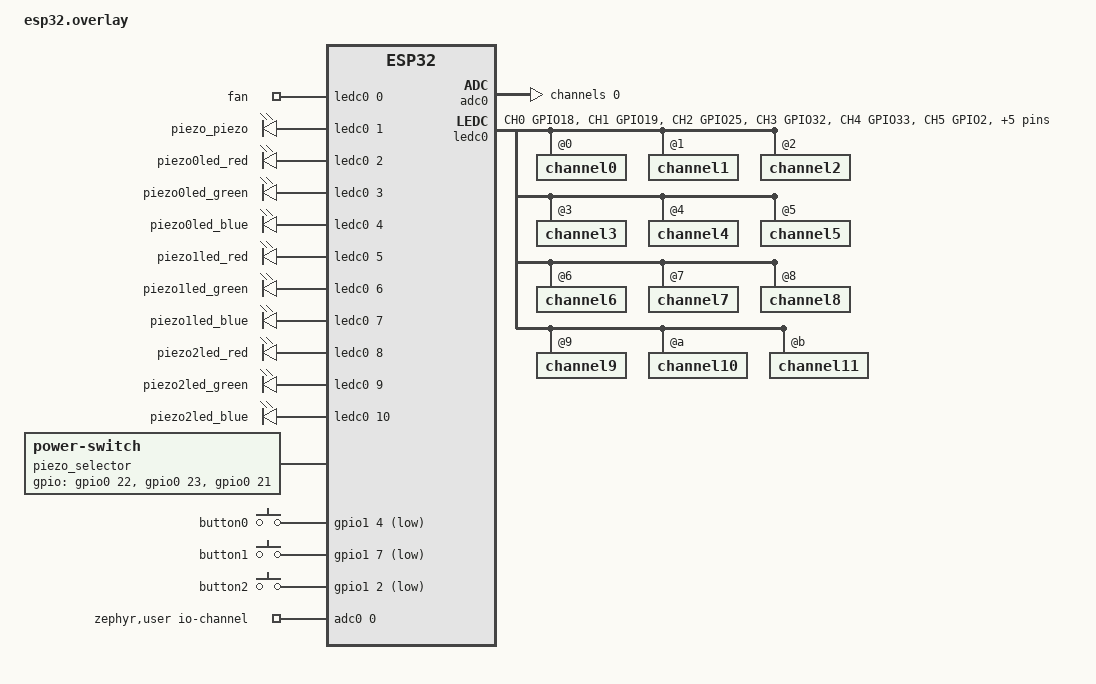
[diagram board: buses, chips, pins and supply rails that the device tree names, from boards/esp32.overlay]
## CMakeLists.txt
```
# SPDX-License-Identifier: Apache-2.0

cmake_minimum_required(VERSION 3.20.0)

find_package(Zephyr REQUIRED HINTS $ENV{ZEPHYR_BASE})
find_package(Python REQUIRED COMPONENTS Interpreter)

project(http_server)

if(CONFIG_NET_SOCKETS_SOCKOPT_TLS AND
  CONFIG_MBEDTLS_KEY_EXCHANGE_PSK_ENABLED AND
  (CONFIG_NET_SAMPLE_PSK_HEADER_FILE STREQUAL "dummy_psk.h")
)
  add_custom_target(development_psk
    COMMAND ${CMAKE_COMMAND} -E echo "----------------------------------------------------------"
    COMMAND ${CMAKE_COMMAND} -E echo "--- WARNING: Using dummy PSK! Only suitable for        ---"
    COMMAND ${CMAKE_COMMAND} -E echo "--- development. Set NET_SAMPLE_PSK_HEADER_FILE to use ---"
    COMMAND ${CMAKE_COMMAND} -E echo "--- own pre-shared key.                                ---"
    COMMAND ${CMAKE_COMMAND} -E echo "----------------------------------------------------------"
  )
  add_dependencies(app development_psk)
endif()

set(CERTS_DIR ${CMAKE_CURRENT_SOURCE_DIR}/src/certs)

add_custom_target(sample_ca_cert
  WORKING_DIRECTORY ${CERTS_DIR}
  COMMAND sh gen_ca_cert.sh
  COMMENT "Generating sample CA certificate"
)

add_custom_target(sample_server_cert
  WORKING_DIRECTORY ${CERTS_DIR}
  COMMAND sh gen_server_cert.sh
  COMMENT "Generating sample server certificate"
)

option(INCLUDE_HTML_CONTENT "Include the HTML content" ON)

target_include_directories(app PRIVATE inc)
FILE(GLOB app_sources src/*.c src/*.cpp)
target_sources(app PRIVATE ${app_sources})

set(gen_dir ${ZEPHYR_BINARY_DIR}/include/generated/)

target_sources_ifdef(CONFIG_NET_SAMPLE_WEBSOCKET_SERVICE app PRIVATE src/ws.c)

if(CONFIG_USB_DEVICE_STACK_NEXT)
  include(${ZEPHYR_BASE}/samples/subsys/usb/common/common.cmake)
endif()

target_link_libraries(app PRIVATE zephyr_interface zephyr)

zephyr_linker_sources(SECTIONS sections-rom.ld)
zephyr_linker_section_ifdef(CONFIG_NET_SAMPLE_HTTPS_SERVICE
  NAME http_resource_desc_test_https_service
  KVMA RAM_REGION GROUP RODATA_REGION
)
zephyr_linker_section_ifdef(CONFIG_NET_SAMPLE_HTTP_SERVICE
  NAME http_resource_desc_test_http_service
  KVMA RAM_REGION GROUP RODATA_REGION
)

foreach(web_resource
  index.html
  main.js
)
  generate_inc_file_for_target(app
    src/static_web_resources/${web_resource}
    ${gen_dir}/${web_resource}.gz.inc
    --gzip
  )
endforeach()

foreach(inc_file
  server_cert.der
  server_privkey.der
)
  generate_inc_file_for_target(app
    src/certs/${inc_file}
    ${gen_dir}/${inc_file}.inc
  )
endforeach()
```

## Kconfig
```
# Config options for http2 server sample application

# Copyright (c) 2023, Emna Rekik
# SPDX-License-Identifier: Apache-2.0

mainmenu "HTTP2 server sample application"

config NET_SAMPLE_HTTP_SERVICE
	bool "Enable http service"
	default y

config NET_SAMPLE_HTTP_SERVER_SERVICE_PORT
	int "Port number for http service"
	default 80
	depends on NET_SAMPLE_HTTP_SERVICE

config NET_SAMPLE_HTTPS_SERVICE
	bool "Enable https service"
	depends on NET_SOCKETS_SOCKOPT_TLS || TLS_CREDENTIALS
	select PSA_CRYPTO

if NET_SAMPLE_HTTPS_SERVICE

config NET_SAMPLE_HTTPS_SERVER_SERVICE_PORT
	int "Port number for https service"
	default 443
	depends on NET_SAMPLE_HTTPS_SERVICE

config NET_SAMPLE_HTTPS_USE_ALPN
	bool "Allow HTTP2 connectivity with web browsers by using ALPN"
	select MBEDTLS_SSL_ALPN
	select HTTP_SERVER_TLS_USE_ALPN
	help
	  Web browsers only use HTTP/2 over HTTPS, and use ALPN to determine if a
	  server supports HTTP/2. If this option is enabled, web browsers can use
	  HTTP/2 to communicate with the server. However web browsers are stricter
	  with security when using HTTP/2, at a minimum you will need to add the CA
	  certificate used to sign the server certificate into your web browser's
	  trusted authorities. Otherwise the connection can fail with a security
	  error, without giving an option to ignore this and proceed anyway.

endif # NET_SAMPLE_HTTPS_SERVICE

config NET_SAMPLE_PSK_HEADER_FILE
	string "Header file containing PSK"
	default "dummy_psk.h"
	depends on MBEDTLS_KEY_EXCHANGE_PSK_ENABLED
	help
	  Name of a header file containing a
	  pre-shared key.

config NET_SAMPLE_WEBSOCKET_SERVICE
	bool "Enable websocket service"
	default y if HTTP_SERVER_WEBSOCKET

config NET_SAMPLE_NUM_WEBSOCKET_HANDLERS
	int "How many websocket connections to serve at the same time"
	depends on NET_SAMPLE_WEBSOCKET_SERVICE
	default 1
	help
	  Each websocket connection is served by a thread which needs
	  memory. Only increase the value here if really needed.

config NET_SAMPLE_WEBSOCKET_STATS_INTERVAL
	int "Interval in milliseconds to send network stats over websocket"
	depends on NET_SAMPLE_WEBSOCKET_SERVICE
	default 200
	help
	  This interval controls how often the net stats data shown on the web page
	  will be updated.

if USB_DEVICE_STACK_NEXT
# Source common USB sample options used to initialize new experimental USB
# device stack. The scope of these options is limited to USB samples in project
# tree, you cannot use them in your own application.
	source "samples/subsys/usb/common/Kconfig.sample_usbd"
endif

config NET_SAMPLE_SNTP_SERVER_ADDRESS
        string "SNTP server address"
        default "pool.ntp.org"

config NET_SAMPLE_SNTP_SERVER_PORT
        int "SNTP server port"
        default 123

config NET_SAMPLE_SNTP_SERVER_TIMEOUT_MS
        int "Duration to wait for response"
        default 2000

source "samples/net/common/Kconfig"
source "Kconfig.zephyr"
```

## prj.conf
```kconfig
# General config
CONFIG_MAIN_STACK_SIZE=4096
# CONFIG_NET_SOCKETS_SERVICE_STACK_SIZE=4096
CONFIG_ZVFS_EVENTFD_MAX=20
CONFIG_SYSTEM_WORKQUEUE_STACK_SIZE=2048
CONFIG_SHELL=y
CONFIG_LOG=y
CONFIG_ENTROPY_GENERATOR=y
CONFIG_TEST_RANDOM_GENERATOR=y
CONFIG_INIT_STACKS=y
CONFIG_ZVFS_OPEN_ADD_SIZE_NET_SAMPLE=24
CONFIG_POSIX_API=y
CONFIG_ZVFS_POLL_MAX=32

# Eventfd
CONFIG_EVENTFD=y

# Networking config
CONFIG_NETWORKING=y
CONFIG_NET_IPV4=y
CONFIG_NET_IPV6=n
CONFIG_NET_TCP=y
CONFIG_NET_SOCKETS=y
CONFIG_NET_CONNECTION_MANAGER=y
CONFIG_NET_SHELL=y
CONFIG_NET_STATISTICS=y
CONFIG_NET_STATISTICS_USER_API=y
CONFIG_NET_LOG=y

# JSON
CONFIG_JSON_LIBRARY=y

# HTTP parser
CONFIG_HTTP_PARSER_URL=y
CONFIG_HTTP_PARSER=y
CONFIG_HTTP_SERVER=y
CONFIG_HTTP_SERVER_WEBSOCKET=y

# Network buffers
CONFIG_NET_PKT_RX_COUNT=16
CONFIG_NET_PKT_TX_COUNT=16
CONFIG_NET_BUF_RX_COUNT=128
CONFIG_NET_BUF_TX_COUNT=128
CONFIG_NET_CONTEXT_NET_PKT_POOL=y

# IP address options
# CONFIG_NET_IF_UNICAST_IPV6_ADDR_COUNT=3
# CONFIG_NET_IF_MCAST_IPV6_ADDR_COUNT=4
CONFIG_NET_MAX_CONTEXTS=32
CONFIG_NET_MAX_CONN=32

# Network address config
CONFIG_NET_CONFIG_SETTINGS=y
CONFIG_NET_CONFIG_NEED_IPV4=y
# CONFIG_NET_CONFIG_NEED_IPV6=y
# CONFIG_NET_CONFIG_MY_IPV6_ADDR="2001:db8::1"
# CONFIG_NET_CONFIG_PEER_IPV6_ADDR="2001:db8::2"
CONFIG_HTTP_SERVER_STACK_SIZE=4096
# # Networking tweaks
# # Required to handle large number of consecutive connections,
# # e.g. when testing with ApacheBench.
CONFIG_NET_TCP_TIME_WAIT_DELAY=0

# Device drivers
CONFIG_GPIO=y
CONFIG_INPUT=y
CONFIG_LED=y

# Network debug config
CONFIG_NET_SOCKETS_LOG_LEVEL_DBG=n
CONFIG_NET_HTTP_LOG_LEVEL_DBG=n
CONFIG_NET_IPV6_LOG_LEVEL_DBG=n
CONFIG_NET_IPV6_ND_LOG_LEVEL_DBG=n


# PWM driver
CONFIG_PWM=y
CONFIG_PWM_LOG_LEVEL_DBG=y


CONFIG_FLASH=y
CONFIG_REBOOT=y
CONFIG_NVS=y

# Enable C++ support
CONFIG_CPP=y
CONFIG_REQUIRES_FULL_LIBCPP=y
CONFIG_STATIC_INIT_GNU=y


#start NTP
CONFIG_NETWORKING=y
CONFIG_NET_UDP=y
CONFIG_NET_IPV4=y
CONFIG_DNS_RESOLVER=y

CONFIG_SNTP=y

CONFIG_POSIX_API=y

#end NTP
#adc begin
CONFIG_ADC=y
#adc end
CONFIG_NET_SAMPLE_WEBSOCKET_SERVICE=n
```

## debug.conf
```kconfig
# Development build: West Build esp32 debug writes to build-debug/.
# The primary debug profile builds/flashes this image before using its ELF.
CONFIG_DEBUG_OPTIMIZATIONS=y
CONFIG_DEBUG_THREAD_INFO=y
```

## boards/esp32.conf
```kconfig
# Use the credentials saved in NVS to join the local Wi-Fi network.
CONFIG_WIFI=y
CONFIG_WIFI_ESP32=y
CONFIG_WIFI_USAGE_MODE_STA=y
# A missing saved AP must leave the station available for shell provisioning.
# Retrying while CONNECTING otherwise rejects new credentials with EALREADY.
CONFIG_ESP32_WIFI_STA_RECONNECT=n
CONFIG_NET_L2_WIFI_MGMT=y
CONFIG_NET_DHCPV4=y
CONFIG_NET_MGMT_EVENT_INFO=y

# main() loads saved credentials before initiating Wi-Fi and DHCP.
CONFIG_NET_CONFIG_AUTO_INIT=n
CONFIG_NET_CONFIG_NEED_IPV4=n

# The sample's 128 buffers per direction exceed internal RAM with Wi-Fi.
# 64 buffers keep room for the HTTP/NVS stacks and eight HTTP clients.
CONFIG_NET_BUF_RX_COUNT=64
CONFIG_NET_BUF_TX_COUNT=64

# Browsers retain parallel connections; leave capacity for other API clients.
CONFIG_HTTP_SERVER_MAX_CLIENTS=8
CONFIG_HTTP_SERVER_CLIENT_INACTIVITY_TIMEOUT=3

# Serial-console provisioning remains available before credentials are saved.
CONFIG_NET_L2_WIFI_SHELL=y
# Allow crowded Wi-Fi environments time to process management events.
CONFIG_NET_MGMT_EVENT_QUEUE_TIMEOUT=5000
CONFIG_NET_MGMT_EVENT_QUEUE_SIZE=16
```

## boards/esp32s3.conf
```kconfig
# CONFIG_USB_DEVICE_STACK_NEXT=y
# CONFIG_CDC_ACM_SERIAL_INITIALIZE_AT_BOOT=n

# # CONFIG_USBD_LOG_LEVEL_WRN=y
# # CONFIG_UDC_DRIVER_LOG_LEVEL_WRN=y

# CONFIG_WIFI_ESP32=y
# CONFIG_WIFI_USAGE_MODE_STA=y
# # CONFIG_HEAP_MEM_POOL_SIZE=40960

# CONFIG_NET_DHCPV4=n
# # CONFIG_WIFI=y
# # CONFIG_WIFI_NM=y
# # CONFIG_WIFI_USAGE_MODE_STA_AP=y

# # CONFIG_WIFI_CREDENTIALS_STATIC=y
# # CONFIG_WIFI_CREDENTIALS_STATIC_PASSWORD="Naser"
# # CONFIG_WIFI_CREDENTIALS_STATIC_SSID="nasimore"

# # # CONFIG_MBEDTLS=y
# # CONFIG_MBEDTLS_ENTROPY_ENABLED=y
# # CONFIG_MBEDTLS_KEY_EXCHANGE_ECDHE_ECDSA_ENABLED=y
# # CONFIG_MBEDTLS_ECP_ALL_ENABLED=y
# # CONFIG_WIFI=y

# CONFIG_NET_L2_WIFI_MGMT=y
# # CONFIG_WIFI=y
# # CONFIG_NET_L2_WIFI_MGMT=y
# #OTA configurations: begin
# CONFIG_NET_MGMT=y
# CONFIG_NET_MGMT_EVENT=y

# CONFIG_NET_LOG=y
# CONFIG_NET_SHELL=n

# # Shell
# CONFIG_SHELL=y
# CONFIG_KERNEL_SHELL=y
# CONFIG_SHELL_STACK_SIZE=8192

# CONFIG_REBOOT=y
# CONFIG_HWINFO=y
# CONFIG_NET_TCP=y
# CONFIG_NET_SOCKETS=y
# CONFIG_NET_L2_ETHERNET=y
# CONFIG_ESP32_WIFI_STA_RECONNECT=y
#OTA configuration end


CONFIG_NO_OPTIMIZATIONS=y





CONFIG_EARLY_CONSOLE=y


CONFIG_SHELL_STACK_SIZE=5200
CONFIG_NET_TX_STACK_SIZE=2048
CONFIG_NET_RX_STACK_SIZE=2048

CONFIG_NET_PKT_RX_COUNT=10
CONFIG_NET_PKT_TX_COUNT=10
CONFIG_NET_BUF_RX_COUNT=20
CONFIG_NET_BUF_TX_COUNT=20
CONFIG_NET_MAX_CONTEXTS=10
# CONFIG_NET_DHCPV4=y

CONFIG_NET_STATISTICS_PERIODIC_OUTPUT=n

# CONFIG_WIFI=y
# CONFIG_WIFI_LOG_LEVEL_ERR=y
# CONFIG_NET_L2_WIFI_SHELL=y
# # printing of scan results puts pressure on queues in new locking
# # design in net_mgmt. So, use a higher timeout for a crowded
# # environment.
# CONFIG_NET_MGMT_EVENT_QUEUE_TIMEOUT=5000
# CONFIG_NET_MGMT_EVENT_QUEUE_SIZE=16

# CONFIG_ESP32_WIFI_STA_AUTO_DHCPV4=y

# CONFIG_NET_CONFIG_MY_IPV4_GW="192.168.1.1"
# CONFIG_NET_CONFIG_MY_IPV4_ADDR="192.168.1.20"
```

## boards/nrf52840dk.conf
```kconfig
CONFIG_USB_DEVICE_STACK_NEXT=y
CONFIG_CDC_ACM_SERIAL_INITIALIZE_AT_BOOT=n

CONFIG_USBD_LOG_LEVEL_WRN=y
CONFIG_UDC_DRIVER_LOG_LEVEL_WRN=y

CONFIG_NET_L2_ETHERNET=y


CONFIG_NET_CONFIG_MY_IPV4_ADDR="192.0.2.1"
CONFIG_NET_CONFIG_MY_IPV4_GW="192.0.2.2"
# CONFIG_NET_DHCPV4=y
# CONFIG_USB_DEVICE_STACK=y
# CONFIG_USB_DEVICE_NETWORK_ECM=y
# CONFIG_USB_DEVICE_NETWORK_EEM=y
```

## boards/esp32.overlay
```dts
/*
 * Copyright (c) 2024 Nordic Semiconductor ASA
 *
 * SPDX-License-Identifier: Apache-2.0
 */
#include <zephyr/dt-bindings/pwm/pwm.h>

/{
	aliases {
		piezo-pwm = &piezo_piezo;
	};

	all_pwms
	{
		compatible = "pwm-leds";

		fan
		{
			pwms = <&ledc0 0 PWM_MSEC(20) PWM_POLARITY_NORMAL>;
		};

		piezo_piezo: piezo_piezo
		{
			/* Runtime control overrides this nominal 1.7 MHz period. */
			pwms = <&ledc0 1 PWM_NSEC(588) PWM_POLARITY_NORMAL>;
		};

		piezo0led_red{
			pwms = <&ledc0 2 PWM_MSEC(20) PWM_POLARITY_NORMAL>;
		};
		piezo0led_green{
			pwms = <&ledc0 3 PWM_MSEC(20) PWM_POLARITY_NORMAL>;
		};
		piezo0led_blue{
			pwms = <&ledc0 4 PWM_MSEC(20) PWM_POLARITY_NORMAL>;
		};

		piezo1led_red{
			pwms = <&ledc0 5 PWM_MSEC(20) PWM_POLARITY_NORMAL>;
		};
		piezo1led_green{
			pwms = <&ledc0 6 PWM_MSEC(20) PWM_POLARITY_NORMAL>;
		};
		piezo1led_blue{
			pwms = <&ledc0 7 PWM_MSEC(20) PWM_POLARITY_NORMAL>;
		};

		piezo2led_red{
			pwms = <&ledc0 8 PWM_MSEC(20) PWM_POLARITY_NORMAL>;
		};
		piezo2led_green{
			pwms = <&ledc0 9 PWM_MSEC(20) PWM_POLARITY_NORMAL>;
		};
		piezo2led_blue{
			pwms = <&ledc0 10 PWM_MSEC(20) PWM_POLARITY_NORMAL>;
		};
	};

	piezo_selector
	{
		compatible = "power-switch";
		gpios = <&gpio0 22 GPIO_ACTIVE_HIGH>,
			<&gpio0 23 GPIO_ACTIVE_HIGH>,
			<&gpio0 21 GPIO_ACTIVE_HIGH>;
	};

	buttons
	{
		compatible = "gpio-keys";
		button0: button_0
		{
			/* GPIO36: input-only, requires an external pull-up. */
			gpios = <&gpio1 4 GPIO_ACTIVE_LOW>;
			zephyr,code = <INPUT_BTN_0>;
		};
		button1: button_1
		{
			/* GPIO39: gpio1 starts at GPIO32, so its index is 7. */
			gpios = <&gpio1 7 GPIO_ACTIVE_LOW>;
			zephyr,code = <INPUT_BTN_1>;
		};
		button2: button_2
		{
			/* GPIO34: input-only, requires an external pull-up. */
			gpios = <&gpio1 2 GPIO_ACTIVE_LOW>;
			zephyr,code = <INPUT_BTN_2>;
		};
	};

	zephyr,user
	{
		io-channels = <&adc0 0>;
	};

};

&adc0 {
	status = "okay";
	#address-cells = <1>;
	#size-cells = <0>;

	channel@0 {
		reg = <0>;
		zephyr,gain = "ADC_GAIN_1";
		zephyr,reference = "ADC_REF_INTERNAL";
		zephyr,acquisition-time = <ADC_ACQ_TIME_DEFAULT>;
		zephyr,resolution = <12>;
	};
};

	// cdc_ncm_eth0: cdc_ncm_eth0 {
	// 	compatible = "zephyr,cdc-ncm-ethernet";
	// 	remote-mac-address = "00005E005301";
	// };

&pinctrl {
        ledc0_default: ledc0_default {
                group1 {
                        pinmux = <LEDC_CH0_GPIO18>,
				 <LEDC_CH1_GPIO19>,
				 <LEDC_CH2_GPIO25>,
				 <LEDC_CH3_GPIO32>,
				 <LEDC_CH4_GPIO33>,
				 <LEDC_CH5_GPIO2>,
				 <LEDC_CH6_GPIO26>,
				 <LEDC_CH7_GPIO27>,
				 <LEDC_CH8_GPIO5>,
				 <LEDC_CH9_GPIO16>,
				 <LEDC_CH10_GPIO17>;
                        output-enable;
                };
        };
};

&ledc0 {
        pinctrl-0 = <&ledc0_default>;
        pinctrl-names = "default";
        status = "okay";
        #address-cells = <1>;
        #size-cells = <0>;

        channel0@0 {
                reg = <0x0>;
                timer = <0>;
        };
        channel1@1 {
                reg = <0x1>;
		/* A dedicated timer lets the piezo frequency change independently. */
                timer = <1>;
        };
        channel2@2 {
                reg = <0x2>;
                timer = <0>;
        };
        channel3@3 {
                reg = <0x3>;
                timer = <0>;
        };
        channel4@4 {
                reg = <0x4>;
                timer = <0>;
        };
        channel5@5 {
                reg = <0x5>;
                timer = <0>;
        };
        channel6@6 {
                reg = <0x6>;
                timer = <0>;
        };
        channel7@7 {
                reg = <0x7>;
                timer = <0>;
        };
        channel8@8 {
                reg = <0x8>;
                timer = <0>;
        };
        channel9@9 {
                reg = <0x9>;
                timer = <0>;
        };
        channel10@a {
                reg = <0xa>;
                timer = <0>;
        };
        channel11@b {
                reg = <0xb>;
                timer = <0>;
        };
};
```

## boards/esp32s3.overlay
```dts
/*
 * Copyright (c) 2024 Nordic Semiconductor ASA
 *
 * SPDX-License-Identifier: Apache-2.0
 */
#include <zephyr/dt-bindings/pwm/pwm.h>

/ {

	all_pwms
	{
		compatible = "pwm-leds";

		fan
		{
			pwms = <&ledc0 0 PWM_NSEC(588) PWM_POLARITY_NORMAL>;
		};

		piezo_piezo: piezo_piezo
		{
			// pwms = <&ledc0 1 PWM_NSEC(588) PWM_POLARITY_NORMAL>;
			pwms = <&mcpwm0 0 PWM_NSEC(588) PWM_POLARITY_NORMAL>;
		};

		piezo0led_red{
			pwms = <&ledc0 2 PWM_NSEC(588) PWM_POLARITY_NORMAL>;
		};
		piezo0led_green{
			pwms = <&ledc0 3 PWM_NSEC(588) PWM_POLARITY_NORMAL>;
		};
		piezo0led_blue{
			pwms = <&ledc0 4 PWM_NSEC(588) PWM_POLARITY_NORMAL>;
		};

		piezo1led_red{
			pwms = <&ledc0 5 PWM_NSEC(588) PWM_POLARITY_NORMAL>;
		};
		piezo1led_green{
			pwms = <&ledc0 6 PWM_NSEC(588) PWM_POLARITY_NORMAL>;
		};
		piezo1led_blue{
			pwms = <&ledc0 7 PWM_NSEC(588) PWM_POLARITY_NORMAL>;
		};

		// piezo2led_red{
		// 	pwms = <&ledc0 8 PWM_MSEC(20) PWM_POLARITY_NORMAL>;
		// };
		// piezo2led_green{
		// 	pwms = <&ledc0 9 PWM_MSEC(20) PWM_POLARITY_NORMAL>;
		// };
		// piezo2led_blue{
		// 	pwms = <&ledc0 10 PWM_MSEC(20) PWM_POLARITY_NORMAL>;
		// };
	};


};



	// cdc_ncm_eth0: cdc_ncm_eth0 {
	// 	compatible = "zephyr,cdc-ncm-ethernet";
	// 	remote-mac-address = "00005E005301";
	// };

&pinctrl {
        ledc0_default: ledc0_default {
                group1 {
                        pinmux = <LEDC_CH0_GPIO1>,
				//  <LEDC_CH1_GPIO19>,
				 <LEDC_CH2_GPIO3>,
				 <LEDC_CH3_GPIO4>,
				 <LEDC_CH4_GPIO5>,
				 <LEDC_CH5_GPIO6>,
				 <LEDC_CH6_GPIO7>,
				 <LEDC_CH7_GPIO8>;
				//  <LEDC_CH8_GPIO9>,
				//  <LEDC_CH9_GPIO10>;
                        output-enable;
                };
        };

	mcpwm0_default: mcpwm0_default {
		group1 {
			pinmux = <MCPWM0_OUT0A_GPIO18>;
			// pinmux = <MCPWM0_OUT0A_GPIO19>;
				// <MCPWM0_OUT0B_GPIO2>,
				// <MCPWM0_OUT1A_GPIO4>;
			output-enable;
		};
      };
};

&ledc0 {
        pinctrl-0 = <&ledc0_default>;
        pinctrl-names = "default";
        status = "okay";
        #address-cells = <1>;
        #size-cells = <0>;

        channel0@9 {
                reg = <0x9>;
                timer = <0>;
        };
        channel1@1 {
                reg = <0x1>;
                timer = <1>;
        };
        channel2@2 {
                reg = <0x0>;
                timer = <2>;
        };
        channel3@3 {
                reg = <0xa>;
                timer = <3>;
        };
        channel4@4 {
                reg = <0x4>;
                timer = <0>;
        };
        channel5@5 {
                reg = <0x5>;
                timer = <0>;
        };
        channel6@6 {
                reg = <0x6>;
                timer = <0>;
        };
        channel7@7 {
                reg = <0x7>;
                timer = <0>;
        };
        // channel8@8 {
        //         reg = <0x8>;
        //         timer = <0>;
        // };
        // channel9@9 {
        //         reg = <0x9>;
        //         timer = <0>;
        // };
        // channel10@a {
        //         reg = <0xa>;
        //         timer = <0>;
        // };
        // channel11@b {
        //         reg = <0xb>;
        //         timer = <0>;
        // };
};

&mcpwm0 {
	pinctrl-0 = <&mcpwm0_default>;
	pinctrl-names = "default";
	status = "okay";
	prescale = <93>;
	prescale-timer0 = <103>;

};
```

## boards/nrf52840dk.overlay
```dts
/*
 * Copyright (c) 2024 Nordic Semiconductor ASA
 *
 * SPDX-License-Identifier: Apache-2.0
 */

/ {
	cdc_ncm_eth0: cdc_ncm_eth0 {
		compatible = "zephyr,cdc-ncm-ethernet";
		remote-mac-address = "00005E005301";
	};

	pwmleds
	{
		pwm_led1 {
			pwms = <&pwm0 1 PWM_MSEC(20) PWM_POLARITY_INVERTED>;
		};
		pwm_led2 {
			pwms = <&pwm0 2 PWM_MSEC(20) PWM_POLARITY_INVERTED>;
		};
		pwm_led3 {
			pwms = <&pwm0 3 PWM_MSEC(20) PWM_POLARITY_INVERTED>;
		};
	};
	humidifier_buttons: buttons {
		compatible = "gpio-keys"; /* in zephyr/boards/nordic/nrf52840dk/nrf52840dk_nrf52840.dts:61 */

		/* node '/buttons/button_0' defined in zephyr/boards/nordic/nrf52840dk/nrf52840dk_nrf52840.dts:63 */
		button0: button_0 {
			gpios = < &gpio0 0xb 0x11 >;    /* in zephyr/boards/nordic/nrf52840dk/nrf52840dk_nrf52840.dts:64 */
			label = "Push button switch 0"; /* in zephyr/boards/nordic/nrf52840dk/nrf52840dk_nrf52840.dts:65 */
			zephyr,code = < 0xb >;          /* in zephyr/boards/nordic/nrf52840dk/nrf52840dk_nrf52840.dts:66 */
		};

		/* node '/buttons/button_1' defined in zephyr/boards/nordic/nrf52840dk/nrf52840dk_nrf52840.dts:69 */
		button1: button_1 {
			gpios = < &gpio0 0xc 0x11 >;    /* in zephyr/boards/nordic/nrf52840dk/nrf52840dk_nrf52840.dts:70 */
			label = "Push button switch 1"; /* in zephyr/boards/nordic/nrf52840dk/nrf52840dk_nrf52840.dts:71 */
			zephyr,code = < 0x2 >;          /* in zephyr/boards/nordic/nrf52840dk/nrf52840dk_nrf52840.dts:72 */
		};

		/* node '/buttons/button_2' defined in zephyr/boards/nordic/nrf52840dk/nrf52840dk_nrf52840.dts:75 */
		button2: button_2 {
			gpios = < &gpio0 0x18 0x11 >;   /* in zephyr/boards/nordic/nrf52840dk/nrf52840dk_nrf52840.dts:76 */
			label = "Push button switch 2"; /* in zephyr/boards/nordic/nrf52840dk/nrf52840dk_nrf52840.dts:77 */
			zephyr,code = < 0x3 >;          /* in zephyr/boards/nordic/nrf52840dk/nrf52840dk_nrf52840.dts:78 */
		};

		/* node '/buttons/button_3' defined in zephyr/boards/nordic/nrf52840dk/nrf52840dk_nrf52840.dts:81 */
		button3: button_3 {
			gpios = < &gpio0 0x19 0x11 >;   /* in zephyr/boards/nordic/nrf52840dk/nrf52840dk_nrf52840.dts:82 */
			label = "Push button switch 3"; /* in zephyr/boards/nordic/nrf52840dk/nrf52840dk_nrf52840.dts:83 */
			zephyr,code = < 0x4 >;          /* in zephyr/boards/nordic/nrf52840dk/nrf52840dk_nrf52840.dts:84 */
		};
	};

};

&pwm0_default
{
	group1{
		psels = <NRF_PSEL(PWM_OUT0, 0, 13)>,
			<NRF_PSEL(PWM_OUT1, 0, 14)>,
			<NRF_PSEL(PWM_OUT2, 0, 15)>,
			<NRF_PSEL(PWM_OUT3, 0, 16)>;
	};
};
```

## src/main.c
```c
/*
 * Copyright (c) 2023, Emna Rekik
 * Copyright (c) 2024, Nordic Semiconductor
 *
 * SPDX-License-Identifier: Apache-2.0
 */

#include <stdio.h>
#include <inttypes.h>

#include <zephyr/kernel.h>
#include <zephyr/net/tls_credentials.h>
#include <zephyr/net/http/server.h>
#include <zephyr/net/http/service.h>
#include <zephyr/net/net_ip.h>
#include <zephyr/net/socket.h>
#include "zephyr/device.h"
#include "zephyr/sys/util.h"
#include <zephyr/drivers/led.h>
#include <zephyr/data/json.h>
#include <zephyr/sys/util_macro.h>
#include <zephyr/net/net_config.h>

#ifdef CONFIG_BOARD_ESP32_DEVKITC
#include <zephyr/net/wifi.h>
#include <zephyr/net/wifi_mgmt.h>
#endif

#include <zephyr/drivers/pwm.h>
#if CONFIG_USB_DEVICE_STACK_NEXT
#include <sample_usbd.h>
#endif

#include "ws.h"

#include <zephyr/logging/log.h>
LOG_MODULE_REGISTER(net_http_server_sample, LOG_LEVEL_INF);

#define LED_PWM_NODE_ID	 DT_COMPAT_GET_ANY_STATUS_OKAY(pwm_leds)

static const struct device *pwmsDev = DEVICE_DT_GET(LED_PWM_NODE_ID);
enum pwmIndices
{
	FAN = 0,
	PIEZO,
	RED0,
	GREEN0,
	BLUE0,
	RED1,
	GREEN1,
	BLUE1,
	RED2,
	GREEN2,
	BLUE2,
};

static void setPiezoPwm(uint8_t piezoNum,
			uint8_t red,
			uint8_t green,
			uint8_t blue,
			uint8_t intensity
			)
{
	int redCh, greenCh, blueCh;

	switch (piezoNum) {

	case 0:
		redCh = RED0;
		greenCh = GREEN0;
		blueCh = BLUE0;
		break;

	case 1:
		redCh = RED1;
		greenCh = GREEN1;
		blueCh = BLUE1;
		break;

	case 2:
		redCh = RED2;
		greenCh = GREEN2;
		blueCh = BLUE2;
		break;

	default:
		LOG_ERR("Invalid piezo %d", piezoNum);
		return;
	}

	led_set_brightness(pwmsDev, redCh, red);
	led_set_brightness(pwmsDev, greenCh, green);
	led_set_brightness(pwmsDev, blueCh, blue);
	led_set_brightness(pwmsDev, PIEZO, intensity);
}

struct rgbValues
{
	uint8_t red;
	uint8_t green;
	uint8_t blue;
};
struct PiezoStatus {
	uint8_t piezoNum;
	struct rgbValues led;
	uint8_t intensity;
};

#define NUM_OF_PIEZOS	3
struct PiezosStatus
{
	uint8_t active;
	struct PiezoStatus piezos[NUM_OF_PIEZOS];
};

struct PiezosStatus piezosStatus = { 0 };

struct FanStatus {
	uint8_t speed;
};

struct FanStatus fanStatus = {0};
struct Credentials
{
	const char *ssid;
	const char *password;
};

struct Credentials credentials = {0};
struct IpAddress
{
	const char *ip;
};

struct IpAddress ipAddress = { 0 };

static const struct json_obj_descr ipAddressDescr[] = {
	JSON_OBJ_DESCR_PRIM(struct IpAddress, ip, JSON_TOK_STRING),
};

static const struct json_obj_descr credentialsDescr[] = {
	JSON_OBJ_DESCR_PRIM(struct Credentials, ssid, JSON_TOK_STRING),
	JSON_OBJ_DESCR_PRIM(struct Credentials, password, JSON_TOK_STRING),
};

static const struct json_obj_descr rgbDescr[] = {
    JSON_OBJ_DESCR_PRIM(struct rgbValues, red, JSON_TOK_UINT),
    JSON_OBJ_DESCR_PRIM(struct rgbValues, green, JSON_TOK_UINT),
    JSON_OBJ_DESCR_PRIM(struct rgbValues, blue, JSON_TOK_UINT),
};

static const struct json_obj_descr piezoDescr[] = {
    JSON_OBJ_DESCR_PRIM(struct PiezoStatus, piezoNum, JSON_TOK_UINT),
    JSON_OBJ_DESCR_OBJECT(struct PiezoStatus, led, rgbDescr),
    JSON_OBJ_DESCR_PRIM(struct PiezoStatus, intensity, JSON_TOK_UINT),
};
// static const struct json_obj_descr piezosDescr[] = {
//     JSON_OBJ_DESCR_PRIM(struct PiezosStatus, active, JSON_TOK_UINT),
//     JSON_OBJ_DESCR_OBJ_ARRAY(struct PiezosStatus, piezos, NUM_OF_PIEZOS, NUM_OF_PIEZOS, piezoDescr, ARRAY_SIZE(piezoDescr)),
// };


static const struct json_obj_descr fanDescr[] = {
	JSON_OBJ_DESCR_PRIM(struct FanStatus, speed, JSON_TOK_UINT),
};

static uint8_t index_html_gz[] = {
#include "index.html.gz.inc"
};

static uint8_t main_js_gz[] = {
#include "main.js.gz.inc"
};

static struct http_resource_detail_static index_html_gz_resource_detail = {
	.common = {
			.type = HTTP_RESOURCE_TYPE_STATIC,
			.bitmask_of_supported_http_methods = BIT(HTTP_GET),
			.content_encoding = "gzip",
			.content_type = "text/html",
		},
	.static_data = index_html_gz,
	.static_data_len = sizeof(index_html_gz),
};

static struct http_resource_detail_static main_js_gz_resource_detail = {
	.common = {
			.type = HTTP_RESOURCE_TYPE_STATIC,
			.bitmask_of_supported_http_methods = BIT(HTTP_GET),
			.content_encoding = "gzip",
			.content_type = "text/javascript",
		},
	.static_data = main_js_gz,
	.static_data_len = sizeof(main_js_gz),
};

static int echo_handler(struct http_client_ctx *client, enum http_transaction_status status,
			const struct http_request_ctx *request_ctx,
			struct http_response_ctx *response_ctx, void *user_data)
{
#define MAX_TEMP_PRINT_LEN 32
	static char print_str[MAX_TEMP_PRINT_LEN];
	enum http_method method = client->method;
	static size_t processed;

	if (status == HTTP_SERVER_TRANSACTION_ABORTED ||
	    status == HTTP_SERVER_TRANSACTION_COMPLETE) {
		if (status == HTTP_SERVER_TRANSACTION_ABORTED) {
			LOG_DBG("Transaction aborted after %zd bytes.", processed);
		}
		processed = 0;
		return 0;
	}

	__ASSERT_NO_MSG(request_ctx->data != NULL);

	processed += request_ctx->data_len;

	snprintf(print_str, sizeof(print_str), "%s received (%zd bytes)", http_method_str(method),
		 request_ctx->data_len);
	LOG_HEXDUMP_DBG(request_ctx->data, request_ctx->data_len, print_str);

	if (status == HTTP_SERVER_REQUEST_DATA_FINAL) {
		LOG_DBG("All data received (%zd bytes).", processed);
		processed = 0;
	}

	/* Echo data back to client */
	response_ctx->body = request_ctx->data;
	response_ctx->body_len = request_ctx->data_len;
	response_ctx->final_chunk = (status == HTTP_SERVER_REQUEST_DATA_FINAL);

	return 0;
}

static struct http_resource_detail_dynamic echo_resource_detail = {
	.common = {
			.type = HTTP_RESOURCE_TYPE_DYNAMIC,
			.bitmask_of_supported_http_methods = BIT(HTTP_GET) | BIT(HTTP_POST),
		},
	.cb = echo_handler,
	.user_data = NULL,
};

static int uptime_handler(struct http_client_ctx *client, enum http_transaction_status status,
			  const struct http_request_ctx *request_ctx,
			  struct http_response_ctx *response_ctx, void *user_data)
{
	int ret;
	static uint8_t uptime_buf[sizeof(STRINGIFY(INT64_MAX))];

	LOG_DBG("Uptime handler status %d", status);

	/* A payload is not expected with the GET request. Ignore any data and wait until
	 * final callback before sending response
	 */
	if (status == HTTP_SERVER_REQUEST_DATA_FINAL) {
		ret = snprintf(uptime_buf, sizeof(uptime_buf), "%" PRId64, k_uptime_get());
		if (ret < 0) {
			LOG_ERR("Failed to snprintf uptime, err %d", ret);
			return ret;
		}

		response_ctx->body = uptime_buf;
		response_ctx->body_len = ret;
		response_ctx->final_chunk = true;
	}

	return 0;
}

static struct http_resource_detail_dynamic uptime_resource_detail = {
	.common = {
			.type = HTTP_RESOURCE_TYPE_DYNAMIC,
			.bitmask_of_supported_http_methods = BIT(HTTP_GET),
		},
	.cb = uptime_handler,
	.user_data = NULL,
};


static void parseIpAddressPost(uint8_t *buf, size_t len)
{
	struct IpAddress cmd;
	int ret = json_obj_parse(buf, len, ipAddressDescr, ARRAY_SIZE(ipAddressDescr), &cmd);

	if (ret < 0) {
		LOG_ERR("Piezo JSON parse failed");
		return;
	}
	LOG_INF("Set IP Address to: %s", cmd.ip);
	// setIpAddress(cmd.ipAddress);
}

static int ipAddressHandler(struct http_client_ctx *client,
		      enum http_transaction_status status,
		      const struct http_request_ctx *requestCtx,
		      struct http_response_ctx *responseCtx,
		      void *userData)
{
	static uint8_t postBuf[128];
	static size_t cursor;

	if (status == HTTP_SERVER_TRANSACTION_ABORTED ||
	    status == HTTP_SERVER_TRANSACTION_COMPLETE) {
		cursor = 0;
		return 0;
	}

	if (requestCtx->data_len + cursor > sizeof(postBuf)) {
		cursor = 0;
		return -ENOMEM;
	}

	memcpy(postBuf + cursor,
	       requestCtx->data,
	       requestCtx->data_len);

	cursor += requestCtx->data_len;

	if (status == HTTP_SERVER_REQUEST_DATA_FINAL) {
		parseIpAddressPost(postBuf, cursor);
		cursor = 0;
	}

	return 0;
}

static struct http_resource_detail_dynamic ipAddressResourceDetail = {
	.common = {
			.type = HTTP_RESOURCE_TYPE_DYNAMIC,
			.bitmask_of_supported_http_methods = BIT(HTTP_POST),
		},
	.cb = ipAddressHandler,
	.user_data = NULL,
};

HTTP_RESOURCE_DEFINE(ipAddressResource,
		     test_http_service,
		     "/ipAddress",
		     &ipAddressResourceDetail);


static void parseCredentialsPost(uint8_t *buf, size_t len)
{
	struct Credentials cmd;
	int ret = json_obj_parse(buf, len, credentialsDescr, ARRAY_SIZE(credentialsDescr), &cmd);

	if (ret < 0) {
		LOG_ERR("Credentials JSON parse failed");
		return;
	}
	LOG_INF("Set credentials to ssid: %s, password: %s", cmd.ssid, cmd.password);
	// setCredentials(cmd.ssid, cmd.password);
}

static int credentialsHandler(struct http_client_ctx *client,
		      enum http_transaction_status status,
		      const struct http_request_ctx *requestCtx,
		      struct http_response_ctx *responseCtx,
		      void *userData)
{
	static uint8_t postBuf[128];
	static size_t cursor;

	if (status == HTTP_SERVER_TRANSACTION_ABORTED ||
	    status == HTTP_SERVER_TRANSACTION_COMPLETE) {
		cursor = 0;
		return 0;
	}

	if (requestCtx->data_len + cursor > sizeof(postBuf)) {
		cursor = 0;
		return -ENOMEM;
	}

	memcpy(postBuf + cursor,
	       requestCtx->data,
	       requestCtx->data_len);

	cursor += requestCtx->data_len;

	if (status == HTTP_SERVER_REQUEST_DATA_FINAL) {
		parseCredentialsPost(postBuf, cursor);
		cursor = 0;
	}

	return 0;
}

static struct http_resource_detail_dynamic credentialsResourceDetail = {
	.common = {
			.type = HTTP_RESOURCE_TYPE_DYNAMIC,
			.bitmask_of_supported_http_methods = BIT(HTTP_POST),
		},
	.cb = credentialsHandler,
	.user_data = NULL,
};

HTTP_RESOURCE_DEFINE(credentialsResource,
		     test_http_service,
		     "/credentials",
		     &credentialsResourceDetail);


static void parsePiezosPost(uint8_t *buf, size_t len)
{
	struct PiezoStatus cmd;
	int ret = json_obj_parse(buf, len, piezoDescr, ARRAY_SIZE(piezoDescr), &cmd);

	if (ret < 0) {
		LOG_ERR("Piezo JSON parse failed");
		return;
	}

	LOG_INF("Piezo %u RGB(%u,%u,%u) Intensity %u",
		cmd.piezoNum,
		cmd.led.red,
		cmd.led.green,
		cmd.led.blue,
		cmd.intensity
	);

	setPiezoPwm(
		cmd.piezoNum,
		cmd.led.red,
		cmd.led.green,
		cmd.led.blue,
		cmd.intensity
	);
}

static int piezosHandler(struct http_client_ctx *client,
		      enum http_transaction_status status,
		      const struct http_request_ctx *requestCtx,
		      struct http_response_ctx *responseCtx,
		      void *userData)
{
	static uint8_t postBuf[128];
	static size_t cursor;

	if (status == HTTP_SERVER_TRANSACTION_ABORTED ||
	    status == HTTP_SERVER_TRANSACTION_COMPLETE) {
		cursor = 0;
		return 0;
	}

	if (requestCtx->data_len + cursor > sizeof(postBuf)) {
		cursor = 0;
		return -ENOMEM;
	}

	memcpy(postBuf + cursor,
	       requestCtx->data,
	       requestCtx->data_len);

	cursor += requestCtx->data_len;

	if (status == HTTP_SERVER_REQUEST_DATA_FINAL) {
		parsePiezosPost(postBuf, cursor);
		cursor = 0;
		int ret;
		static uint8_t piezosStatusBuf[128];

		LOG_INF("piezos status %d", status);

		/* A payload is not expected with the GET request. Ignore any data and wait until
		* final callback before sending response
		*/
		// ret = json_obj_encode_buf(piezosDescr, ARRAY_SIZE(piezosDescr), piezosStatus, piezosStatusBuf, 128);
		// if (ret < 0) {
		// 	LOG_ERR("Failed to encode piezos, err %d", ret);
		// 	return ret;
		// }

		// responseCtx->body = piezosStatusBuf;
		// responseCtx->body_len = ret;
		// responseCtx->final_chunk = true;
	}

	return 0;
}
static struct http_resource_detail_dynamic piezosResourceDetail = {
	.common = {
			.type = HTTP_RESOURCE_TYPE_DYNAMIC,
			.bitmask_of_supported_http_methods = BIT(HTTP_POST),
		},
	.cb = piezosHandler,
	.user_data = NULL,
};

HTTP_RESOURCE_DEFINE(piezosResource,
		     test_http_service,
		     "/piezos",
		     &piezosResourceDetail);


static void parseFanPost(uint8_t *buf, size_t len)
{
	struct FanStatus cmd;

	int ret = json_obj_parse(
		buf,
		len,
		fanDescr,
		ARRAY_SIZE(fanDescr),
		&cmd);

	if (ret < 0) {
		LOG_ERR("Fan JSON parse failed");
		return;
	}

	LOG_INF("Fan speed %d", cmd.speed);

	led_set_brightness(
		pwmsDev,
		FAN,
		cmd.speed);
}

static int fanHandler(struct http_client_ctx *client,
		      enum http_transaction_status status,
		      const struct http_request_ctx *requestCtx,
		      struct http_response_ctx *responseCtx,
		      void *userData)
{
	static uint8_t postBuf[32];
	static size_t cursor;

	if (status == HTTP_SERVER_TRANSACTION_ABORTED ||
	    status == HTTP_SERVER_TRANSACTION_COMPLETE) {
		cursor = 0;
		return 0;
	}

	if (requestCtx->data_len + cursor > sizeof(postBuf)) {
		cursor = 0;
		return -ENOMEM;
	}

	memcpy(postBuf + cursor,
	       requestCtx->data,
	       requestCtx->data_len);

	cursor += requestCtx->data_len;

	if (status == HTTP_SERVER_REQUEST_DATA_FINAL) {
		parseFanPost(postBuf, cursor);
		cursor = 0;

		int ret;
		static uint8_t fanStatusBuf[sizeof(STRINGIFY(INT64_MAX))];

		LOG_INF("fan status %d", status);

		/* A payload is not expected with the GET request. Ignore any data and wait until
		* final callback before sending response
		*/
		ret = snprintf(fanStatusBuf, sizeof(fanStatusBuf), "%u", fanStatus.speed);
		if (ret < 0) {
			LOG_ERR("Failed to snprintf fan, err %d", ret);
			return ret;
		}

		responseCtx->body = fanStatusBuf;
		responseCtx->body_len = ret;
		responseCtx->final_chunk = true;

	}

	return 0;
}

static struct http_resource_detail_dynamic fanResourceDetail = {
	.common = {
		.type = HTTP_RESOURCE_TYPE_DYNAMIC,
		.bitmask_of_supported_http_methods = BIT(HTTP_POST) | BIT(HTTP_GET),
	},
	.cb = fanHandler,
	.user_data = NULL,
};

HTTP_RESOURCE_DEFINE(
	fanResource,
	test_http_service,
	"/fan",
	&fanResourceDetail);



#if defined(CONFIG_NET_SAMPLE_WEBSOCKET_SERVICE)
static uint8_t ws_echo_buffer[1024];

struct http_resource_detail_websocket ws_echo_resource_detail = {
	.common = {
			.type = HTTP_RESOURCE_TYPE_WEBSOCKET,

			/* We need HTTP/1.1 Get method for upgrading */
			.bitmask_of_supported_http_methods = BIT(HTTP_GET),
		},
	.cb = ws_echo_setup,
	.data_buffer = ws_echo_buffer,
	.data_buffer_len = sizeof(ws_echo_buffer),
	.user_data = NULL, /* Fill this for any user specific data */
};

static uint8_t ws_netstats_buffer[128];

struct http_resource_detail_websocket ws_netstats_resource_detail = {
	.common = {
			.type = HTTP_RESOURCE_TYPE_WEBSOCKET,
			.bitmask_of_supported_http_methods = BIT(HTTP_GET),
		},
	.cb = ws_netstats_setup,
	.data_buffer = ws_netstats_buffer,
	.data_buffer_len = sizeof(ws_netstats_buffer),
	.user_data = NULL,
};

#endif /* CONFIG_NET_SAMPLE_WEBSOCKET_SERVICE */

#if defined(CONFIG_NET_SAMPLE_HTTP_SERVICE)
static uint16_t test_http_service_port = CONFIG_NET_SAMPLE_HTTP_SERVER_SERVICE_PORT;
HTTP_SERVICE_DEFINE(test_http_service, NULL, &test_http_service_port,
		    CONFIG_HTTP_SERVER_MAX_CLIENTS, 10, NULL, NULL, NULL);

HTTP_RESOURCE_DEFINE(index_html_gz_resource, test_http_service, "/",
		     &index_html_gz_resource_detail);

HTTP_RESOURCE_DEFINE(main_js_gz_resource, test_http_service, "/main.js",
		     &main_js_gz_resource_detail);

HTTP_RESOURCE_DEFINE(echo_resource, test_http_service, "/dynamic", &echo_resource_detail);

HTTP_RESOURCE_DEFINE(uptime_resource, test_http_service, "/uptime", &uptime_resource_detail);


#if defined(CONFIG_NET_SAMPLE_WEBSOCKET_SERVICE)
HTTP_RESOURCE_DEFINE(ws_echo_resource, test_http_service, "/ws_echo", &ws_echo_resource_detail);

HTTP_RESOURCE_DEFINE(ws_netstats_resource, test_http_service, "/", &ws_netstats_resource_detail);
#endif /* CONFIG_NET_SAMPLE_WEBSOCKET_SERVICE */
#endif /* CONFIG_NET_SAMPLE_HTTP_SERVICE */

#if defined(CONFIG_NET_SAMPLE_HTTPS_SERVICE)
#include "certificate.h"

static const sec_tag_t sec_tag_list_verify_none[] = {
		HTTP_SERVER_CERTIFICATE_TAG,
#if defined(CONFIG_MBEDTLS_KEY_EXCHANGE_password_ENABLED)
		password_TAG,
#endif
	};

static uint16_t test_https_service_port = CONFIG_NET_SAMPLE_HTTPS_SERVER_SERVICE_PORT;
HTTPS_SERVICE_DEFINE(test_https_service, NULL, &test_https_service_port,
		     CONFIG_HTTP_SERVER_MAX_CLIENTS, 10, NULL, NULL, NULL, sec_tag_list_verify_none,
		     sizeof(sec_tag_list_verify_none));

HTTP_RESOURCE_DEFINE(index_html_gz_resource_https, test_https_service, "/",
		     &index_html_gz_resource_detail);

HTTP_RESOURCE_DEFINE(main_js_gz_resource_https, test_https_service, "/main.js",
		     &main_js_gz_resource_detail);

HTTP_RESOURCE_DEFINE(echo_resource_https, test_https_service, "/dynamic", &echo_resource_detail);

HTTP_RESOURCE_DEFINE(uptime_resource_https, test_https_service, "/uptime", &uptime_resource_detail);

HTTP_RESOURCE_DEFINE(led_resource_https, test_https_service, "/led", &led_resource_detail);

#if defined(CONFIG_NET_SAMPLE_WEBSOCKET_SERVICE)
HTTP_RESOURCE_DEFINE(ws_echo_resource_https, test_https_service, "/ws_echo",
		     &ws_echo_resource_detail);

HTTP_RESOURCE_DEFINE(ws_netstats_resource_https, test_https_service, "/",
		     &ws_netstats_resource_detail);
#endif /* CONFIG_NET_SAMPLE_WEBSOCKET_SERVICE */
#endif /* CONFIG_NET_SAMPLE_HTTPS_SERVICE */

static void setup_tls(void)
{
#if defined(CONFIG_NET_SAMPLE_HTTPS_SERVICE)
#if defined(CONFIG_NET_SOCKETS_SOCKOPT_TLS)
	int err;

	err = tls_credential_add(HTTP_SERVER_CERTIFICATE_TAG,
				 TLS_CREDENTIAL_PUBLIC_CERTIFICATE,
				 server_certificate,
				 sizeof(server_certificate));
	if (err < 0) {
		LOG_ERR("Failed to register public certificate: %d", err);
	}

	err = tls_credential_add(HTTP_SERVER_CERTIFICATE_TAG,
				 TLS_CREDENTIAL_PRIVATE_KEY,
				 private_key, sizeof(private_key));
	if (err < 0) {
		LOG_ERR("Failed to register private key: %d", err);
	}

#if defined(CONFIG_MBEDTLS_KEY_EXCHANGE_password_ENABLED)
	err = tls_credential_add(password_TAG,
				 TLS_CREDENTIAL_password,
				 password,
				 sizeof(password));
	if (err < 0) {
		LOG_ERR("Failed to register password: %d", err);
	}

	err = tls_credential_add(password_TAG,
				 TLS_CREDENTIAL_password_ID,
				 password_id,
				 sizeof(password_id) - 1);
	if (err < 0) {
		LOG_ERR("Failed to register password ID: %d", err);
	}
#endif /* defined(CONFIG_MBEDTLS_KEY_EXCHANGE_password_ENABLED) */
#endif /* defined(CONFIG_NET_SOCKETS_SOCKOPT_TLS) */
#endif /* defined(CONFIG_NET_SAMPLE_HTTPS_SERVICE) */
}

static int init_usb(void)
{
#if defined(CONFIG_USB_DEVICE_STACK_NEXT)
	struct usbd_context *sample_usbd;
	int err;

	sample_usbd = sample_usbd_init_device(NULL);
	if (sample_usbd == NULL) {
		return -ENODEV;
	}

	err = usbd_enable(sample_usbd);
	if (err) {
		return err;
	}

	(void)net_config_init_app(NULL, "Initializing network");
#endif /* CONFIG_USB_DEVICE_STACK_NEXT */

	return 0;
}

int main(void)
{
#ifdef CONFIG_BOARD_ESP32_DEVKITC
	struct net_if *iface = net_if_get_default();

	struct wifi_connect_req_params connect_params = {
		// .ssid = "Naser-Wi-Fi",
		// .ssid_length = strlen("Naser-Wi-Fi"),
		// .psk = "1020151515",
		// .psk_length = strlen("1020151515"),
		.ssid = "PAIDAR",
		.ssid_length = strlen("PAIDAR"),
		.psk = "Atal-Matal 347",
		.psk_length = strlen("Atal-Matal 347"),
		// .ssid = "Naser",
		// .ssid_length = strlen("Naser"),
		// .psk = "nasimore",
		// .psk_length = strlen("nasimore"),
		.security = WIFI_SECURITY_TYPE_PSK,
	};
	net_mgmt(NET_REQUEST_WIFI_CONNECT, iface, &connect_params, sizeof(connect_params));
#else
	init_usb();
#endif
	LOG_INF("Besme Allah");
	if (!device_is_ready(pwmsDev)) {
		LOG_ERR("Device %s is not ready", pwmsDev->name);
		return 0;
	}
	int err, pwmLevel;
	fanStatus.speed = 5;
	err = led_set_brightness(pwmsDev, FAN, fanStatus.speed);
	LOG_INF("err=%d \n", err);
	if (err < 0) {
		LOG_ERR("err=%d brightness=%d\n", err, pwmLevel);
		return 0;
	}
	pwmLevel = 20;
	err = led_set_brightness(pwmsDev, PIEZO, pwmLevel);
	LOG_INF("err=%d \n", err);
	if (err < 0) {
		LOG_ERR("err=%d brightness=%d\n", err, pwmLevel);
		return 0;
	}
	pwmLevel = 30;
	err = led_set_brightness(pwmsDev, RED0, pwmLevel);
	LOG_INF("err=%d \n", err);
	if (err < 0) {
		LOG_ERR("err=%d brightness=%d\n", err, pwmLevel);
		return 0;
	}
	pwmLevel = 40;
	err = led_set_brightness(pwmsDev, GREEN0, pwmLevel);
	LOG_INF("err=%d \n", err);
	if (err < 0) {
		LOG_ERR("err=%d brightness=%d\n", err, pwmLevel);
		return 0;
	}

	// setup_tls();
#ifdef CONFIG_BOARD_ESP32_DEVKITC
	pwmLevel = 50;
	err = led_set_brightness(pwmsDev, BLUE0, pwmLevel);
	LOG_INF("err=%d \n", err);
	if (err < 0) {
		LOG_ERR("err=%d brightness=%d\n", err, pwmLevel);
		return 0;
	}

	pwmLevel = 60;
	err = led_set_brightness(pwmsDev, RED1, pwmLevel);
	LOG_INF("err=%d \n", err);
	if (err < 0) {
		LOG_ERR("err=%d brightness=%d\n", err, pwmLevel);
		return 0;
	}
	pwmLevel = 70;
	err = led_set_brightness(pwmsDev, GREEN1, pwmLevel);
	LOG_INF("err=%d \n", err);
	if (err < 0) {
		LOG_ERR("err=%d brightness=%d\n", err, pwmLevel);
		return 0;
	}
	pwmLevel = 80;
	err = led_set_brightness(pwmsDev, BLUE1, pwmLevel);
	LOG_INF("err=%d \n", err);
	if (err < 0) {
		LOG_ERR("err=%d brightness=%d\n", err, pwmLevel);
		return 0;
	}
	err = led_set_brightness(pwmsDev, RED2, pwmLevel);
	LOG_INF("err=%d \n", err);
	if (err < 0) {
		LOG_ERR("err=%d brightness=%d\n", err, pwmLevel);
		return 0;
	}
	pwmLevel = 20;
	err = led_set_brightness(pwmsDev, GREEN2, pwmLevel);
	LOG_INF("err=%d \n", err);
	if (err < 0) {
		LOG_ERR("err=%d brightness=%d\n", err, pwmLevel);
		return 0;
	}
	pwmLevel = 30;
	err = led_set_brightness(pwmsDev, BLUE2, pwmLevel);
	LOG_INF("err=%d \n", err);
	if (err < 0) {
		LOG_ERR("err=%d brightness=%d\n", err, pwmLevel);
		return 0;
	}
#endif
	http_server_start();
	return 0;
}
```

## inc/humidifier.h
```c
#ifndef __HUMIDIFIER__H__
#define __HUMIDIFIER__H__

#include "piezo_command.h"

#include <stdio.h>
#include <inttypes.h>
#include <time.h>

#include <zephyr/kernel.h>
#include <zephyr/net/tls_credentials.h>
#include <zephyr/net/http/server.h>
#include <zephyr/net/http/service.h>
#include <zephyr/net/net_ip.h>
#include <zephyr/net/socket.h>
#include "zephyr/sys/util.h"
#include <zephyr/drivers/led.h>
#include <zephyr/data/json.h>
#include <zephyr/sys/util_macro.h>
#include <zephyr/net/net_config.h>
#include <zephyr/input/input.h>
#include <zephyr/drivers/pwm.h>
#include <zephyr/drivers/gpio.h>

#ifdef CONFIG_BOARD_ESP32_DEVKITC
#include <zephyr/net/wifi.h>
#include <zephyr/net/wifi_mgmt.h>
#endif

#include <zephyr/drivers/flash.h>
#include <zephyr/sys/reboot.h>
#include <zephyr/device.h>
#include <string.h>
#include <zephyr/storage/flash_map.h>
#include <zephyr/kvss/nvs.h>
#include <zephyr/logging/log.h>
#include <zephyr/dt-bindings/input/input-event-codes.h>
#include <zephyr/net/sntp.h>
#include <zephyr/drivers/adc.h>

#define NVS_PARTITION               storage_partition
#define NVS_PARTITION_DEVICE        PARTITION_DEVICE(NVS_PARTITION)
#define NVS_PARTITION_OFFSET        PARTITION_OFFSET(NVS_PARTITION)

#define NUM_OF_PIEZOS 3
#define MAX_SCHEDULES 10
#define NVS_SETTINGS_ID 0
#define NVS_SETTINGS_V2_ID 1

#define SCHEDULER_STACK_SIZE	2048
struct Schedule {

    uint32_t id;

    bool enabled;

    // bit0=Sunday ... bit6=Saturday
    uint8_t days;

    uint8_t hour;
    uint8_t minute;

    uint16_t durationMinutes;

    bool oneTime;

    uint8_t activePiezo;

    uint8_t intensity;

    uint8_t fanLevel;

    uint8_t brightness;

    // anti duplicate trigger
    uint32_t lastRunEpochMinute;

    // runtime state
    bool running;

    uint32_t stopEpoch;
};

enum pwmIndices {
    FAN = 0,
    PIEZO,
    RED0,
    GREEN0,
    BLUE0,
    RED1,
    GREEN1,
    BLUE1,
    RED2,
    GREEN2,
    BLUE2,
};

struct PiezoStatus {
    uint8_t brightness;
    uint8_t intensity;
    uint32_t frequencyHz;
};

struct PiezosStatus {
    int8_t active;
    struct PiezoStatus piezos[NUM_OF_PIEZOS];
    size_t piezosNum;
    uint32_t actualFrequencyHz;
    uint32_t actualDutyBasisPoints;
};

struct FanStatus {
    uint8_t speed;
};

struct TimeStatus {
    uint32_t timestamp;
    bool synced;
};

struct Credentials {
    char ssid[32];
    char password[32];
};

enum Routines
{
	MANUAL = 0,
	SCHEDULING,
};
struct Settings {

	Routines activeRoutine = MANUAL;

	/*struct Manual manual = { 0 };*/
	/*struct Scheduling scheduling = { 0 };*/
    uint8_t fanSpeed;

    struct PiezosStatus piezos;

    struct Credentials credentials;

    uint32_t nextScheduleId;

    uint8_t schedulesNum;

    struct Schedule schedules[MAX_SCHEDULES];
};

static const struct json_obj_descr credentialsDescr[] = {
    JSON_OBJ_DESCR_PRIM(struct Credentials, ssid, JSON_TOK_STRING_BUF),
    JSON_OBJ_DESCR_PRIM(struct Credentials, password, JSON_TOK_STRING_BUF),
};

static const struct json_obj_descr piezoDescr[] = {
    JSON_OBJ_DESCR_PRIM(struct PiezoStatus, brightness, JSON_TOK_UINT),
    JSON_OBJ_DESCR_PRIM(struct PiezoStatus, intensity, JSON_TOK_UINT),
    JSON_OBJ_DESCR_PRIM(struct PiezoStatus, frequencyHz, JSON_TOK_UINT),
};

static const struct json_obj_descr piezosDescr[] = {
    JSON_OBJ_DESCR_PRIM(struct PiezosStatus, active, JSON_TOK_INT),
    JSON_OBJ_DESCR_OBJ_ARRAY(
        struct PiezosStatus,
        piezos,
        NUM_OF_PIEZOS,
        piezosNum,
        piezoDescr,
        ARRAY_SIZE(piezoDescr)
    ),
    JSON_OBJ_DESCR_PRIM(struct PiezosStatus, actualFrequencyHz, JSON_TOK_UINT),
    JSON_OBJ_DESCR_PRIM(struct PiezosStatus, actualDutyBasisPoints, JSON_TOK_UINT),
};

static const struct json_obj_descr fanDescr[] = {
    JSON_OBJ_DESCR_PRIM(struct FanStatus, speed, JSON_TOK_UINT),
};

static const struct json_obj_descr timeDescr[] = {
    JSON_OBJ_DESCR_PRIM(struct TimeStatus, timestamp, JSON_TOK_NUMBER),
    JSON_OBJ_DESCR_PRIM(struct TimeStatus, synced, JSON_TOK_TRUE),
};

class Humidifier
{
public:

    Humidifier();

    int parsePiezosPost(char *buf, size_t len);

    void parseFanPost(char *buf, size_t len);

    void parseCredentialsPost(char *buf, size_t len);

    int fanStatus(char *buf, size_t bufSize);

    int piezosStatus(char *buf, size_t bufSize);

    int credentialStatus(char *buf, size_t bufSize);

    int timeStatus(char *buf, size_t bufSize);

    void getCredentials(char *ssid, char *psk);

    void syncTimeSntp();

    static void buttonsHandlerWrapper(struct input_event *val, void *userData);

    void buttonsHandler(struct input_event *val);

private:

    struct Settings settings;

    struct nvs_fs *fs;

    bool storageReady;

    bool hardwareReady;

    uint32_t currentTime;

    bool timeSynced;

    struct k_thread scheduleThread;

    static void schedulerThreadWrapper(void *arg1, void *arg2, void *arg3);

    void scheduleLoop();

    void checkSchedules();

    void runSchedule(struct Schedule *schedule);

    void stopSchedule(struct Schedule *schedule);

    int setPiezoPwm(int8_t piezoNum);

    int disablePiezos();

    int nvsInit();

    int readInfosFromMemory();

    int writeSettings();

    void setDefaultSettings();

    void setCredentials(char *ssid, char *password);

	int hardwareInit();
};

#endif
```

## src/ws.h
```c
/*
 * Copyright (c) 2024, Witekio
 *
 * SPDX-License-Identifier: Apache-2.0
 */

#include <zephyr/net/http/server.h>
#ifdef __cplusplus
extern "C" {
#endif
/**
 * @brief Setup websocket for echoing data back to client
 *
 * @param ws_socket Socket file descriptor associated with websocket
 * @param request_ctx Request context associated with websocket HTTP upgrade request
 * @param user_data User data pointer
 *
 * @return 0 on success
 */
int ws_echo_setup(int ws_socket, struct http_request_ctx *request_ctx, void *user_data);

/**
 * @brief Setup websocket for sending net statistics to client
 *
 * @param ws_socket Socket file descriptor associated with websocket
 * @param request_ctx Request context associated with websocket HTTP upgrade request
 * @param user_data User data pointer
 *
 * @return 0 on success
 */
int ws_netstats_setup(int ws_socket, struct http_request_ctx *request_ctx, void *user_data);
#ifdef __cplusplus
}
#endif
```
